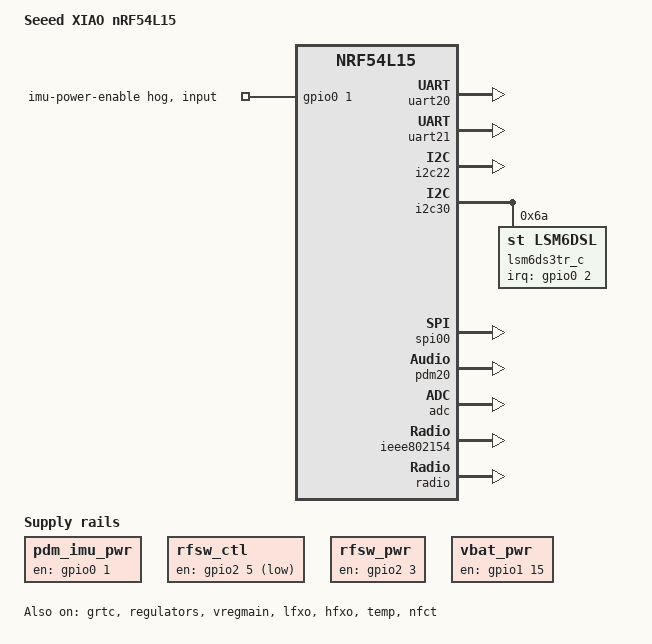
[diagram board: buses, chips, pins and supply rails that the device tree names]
/*
 * Copyright (c) 2025 Seeed Technology Co., Ltd.
 * SPDX-License-Identifier: Apache-2.0
 */

/dts-v1/;
#include <nordic/nrf54l15_cpuapp.dtsi>
#include "seeed_xiao_connector.dtsi"
#include "xiao_nrf54l15_common.dtsi"

/ {
	model = "Seeed XIAO nRF54L15";
	compatible = "seeed,xiao-nrf54l15-cpuapp";

	pdm_imu_pwr: pdm-imu-pwr {
		compatible = "regulator-fixed";
		regulator-name = "pdm-imu-pwr";
		enable-gpios = <&gpio0 1 GPIO_ACTIVE_HIGH>;
		regulator-boot-on;
		startup-delay-us = <5000>;
	};

	rfsw_ctl: rfsw-ctl {
		compatible = "regulator-fixed";
		regulator-name = "rfsw-ctl";
		enable-gpios = <&gpio2 5 GPIO_ACTIVE_LOW>;
		regulator-boot-on;
	};

	rfsw_pwr: rfsw-pwr {
		compatible = "regulator-fixed";
		regulator-name = "rfsw-pwr";
		enable-gpios = <&gpio2 3 GPIO_ACTIVE_HIGH>;
		regulator-boot-on;
	};

	vbat_pwr: vbat-pwr {
		compatible = "regulator-fixed";
		regulator-name = "vbat";
		enable-gpios = <&gpio1 15 GPIO_ACTIVE_HIGH>;
		regulator-boot-on;
	};

	chosen {
		zephyr,code-partition = &slot0_partition;
		zephyr,sram = &cpuapp_sram;
		zephyr,flash = &cpuapp_rram;
		zephyr,flash-controller = &rram_controller;
		zephyr,console = &uart20;
		zephyr,shell-uart = &uart20;
		nordic,rpc-uart = &uart20;
		zephyr,ieee802154 = &ieee802154;
	};

	aliases {
		imu0 = &lsm6ds3tr_c;
	};
};

&cpuapp_sram {
	status = "okay";
};

&grtc {
	owned-channels = <0 1 2 3 4 5 6 7 8 9 10 11>;
	/* Channels 7-11 reserved for Zero Latency IRQs, 3-4 for FLPR */
	child-owned-channels = <3 4 7 8 9 10 11>;
	status = "okay";
};

&clock {
	status = "okay";
};

&uart20 {
	status = "okay";
};

&uart21 {
	status = "okay";
};

&i2c22 {
	status = "okay";
};

&i2c30 {
	status = "okay";

	lsm6ds3tr_c: lsm6ds3tr-c@6a {
		compatible = "st,lsm6dsl";
		reg = <0x6a>;
		irq-gpios = <&gpio0 2 GPIO_ACTIVE_HIGH>;
		status = "okay";
	};
};

&spi00 {
	status = "okay";
};

dmic_dev: &pdm20 {
	status = "okay";
};

&adc {
	status = "okay";
};

&gpio0 {
	status = "okay";

	imu_power_default_on: imu_power_default_on {
		gpio-hog;
		gpios = <1 GPIO_ACTIVE_HIGH>;
		line-name = "imu-power-enable";
	};
};

&gpio1 {
	status = "okay";
};

&gpio2 {
	status = "okay";
};

&gpiote20 {
	status = "okay";
};

&gpiote30 {
	status = "okay";
};

&regulators {
	status = "okay";
};

&vregmain {
	status = "okay";
	regulator-initial-mode = <NRF5X_REG_MODE_DCDC>;
};

&lfxo {
	load-capacitors = "internal";
	load-capacitance-femtofarad = <16000>;
	status = "okay";
};

&hfxo {
	load-capacitors = "internal";
	load-capacitance-femtofarad = <16000>;
	status = "okay";
};

&ieee802154 {
	status = "okay";
};

&temp {
	status = "okay";
};

&radio {
	status = "okay";
};

&nfct {
	status = "okay";
};

&clock {
	status = "okay";
};

/* Include default memory partition configuration file */
#include <vendor/nordic/nrf54l15_cpuapp_partition.dtsi>
